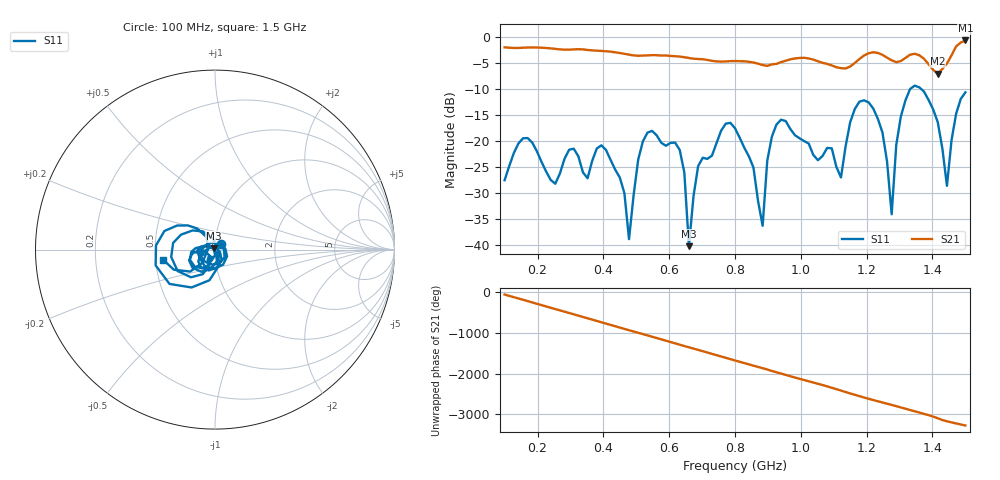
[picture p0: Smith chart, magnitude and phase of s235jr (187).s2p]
! NanoVNA-App
! Date: 2025-09-25 15:05:37
! Start: 100MHz Stop: 1,5GHz Points: 101
! S-Parameter data: F S11 S21 S12 S22
# Hz S RI R 50
!  Frequency  S11_Real  S11_Imag  S21_Real  S21_Imag  S12_Real  S12_Imag  S22_Real  S22_Imag
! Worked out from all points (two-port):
!   101 points, 100 MHz to 1.5 GHz, reference 50 ohm
!   highest |S21| = -0.64 dB at 1.5 GHz (marker M1); lowest = -7.0 dB at 1.416 GHz (marker M2)
!   |S21| within 3 dB of the highest: start of sweep to 611.4 MHz; 1.19 GHz to 1.254 GHz (64.29 MHz wide, 5.26 % of centre) (the widest 2 of 4)
!   lowest |S11| = -40.1 dB at 660 MHz (marker M3), VSWR 1.02, Z = 49.2 + j0.62 ohm
!   |S11| at or under -10 dB: start of sweep to 1.332 GHz; 1.366 GHz to end of sweep
!   S12 and S22 are empty: the file has one direction only
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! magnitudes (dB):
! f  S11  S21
! 100 MHz  -27.5  -2.0
! 156 MHz  -19.4  -2.0
! 338 MHz  -26.0  -2.4
! 408 MHz  -21.6  -2.7
! 478 MHz  -38.8  -3.4
! 520 MHz  -20.0  -3.5
! 576 MHz  -20.3  -3.5
! 632 MHz  -21.6  -3.7
! 660 MHz  -40.1  -4.0
! 688 MHz  -24.8  -4.2
! 800 MHz  -17.5  -4.6
! 884 MHz  -36.2  -5.4
! 926 MHz  -16.8  -5.1
! 1.038 GHz  -22.6  -4.3
! 1.122 GHz  -26.9  -6.0
! 1.206 GHz  -12.5  -3.1
! 1.276 GHz  -34.0  -4.5
! 1.29 GHz  -20.7  -4.8
! 1.332 GHz  -10.0  -3.4
! 1.416 GHz  -16.3  -7.0
! 1.444 GHz  -28.6  -5.1
! 1.5 GHz  -10.6  -0.6
